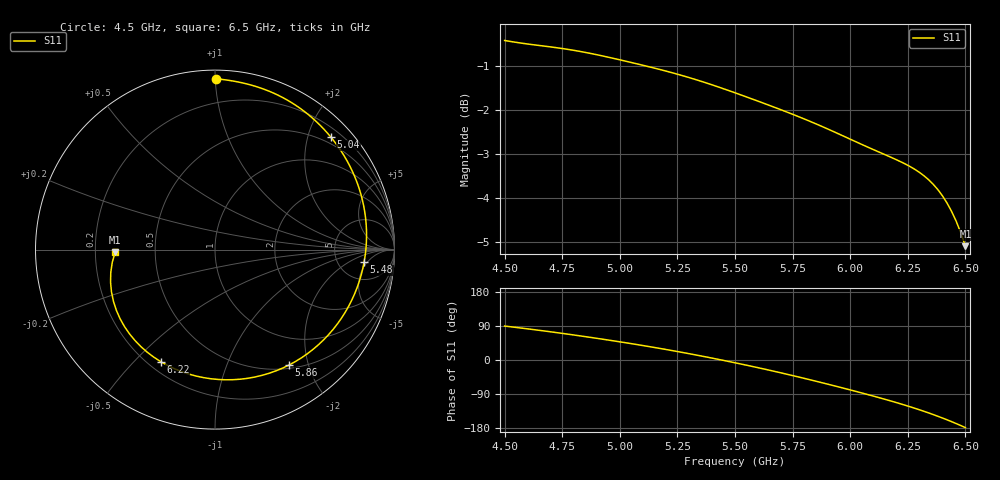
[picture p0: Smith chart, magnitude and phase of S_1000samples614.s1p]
! TOUCHSTONE file generated by CST MICROWAVE STUDIO
! Date and time: Fri Oct 28 18:54:45 2022
! Project name: L.cst
! Parameters = {Di=1.27; Epsilon_r=1.56; InnerDiameter=1.27; Length=2; Lf=10; Lg=60; OuterConductorThickness=0.2921; OuterDiameter=3.6; Wf=3; Wp=41.2; de=1.5; df=6.8; g=0.8; gx=3.24341; gy=3.1926; h=2.34; hf=1.524; px=10.5802; py=12.8649; w=9.7; wx=7.33675; wy=9.6723}
! Header version: 2018
! Port assignment regex: !\s*Touchstone port\s*([0-9]+)\s*=\s*(CST MWS port|CST DS port)\s*([0-9]+|Zmin|Zmax)\s*\(\"(.*)\"\)(\s*mode\s*([0-9]+))?.*
! Touchstone port assignment:
! Touchstone port 1 = CST MWS port 1 ("")
# GHz S DB R 50
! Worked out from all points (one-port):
!   101 points, 4.5 GHz to 6.5 GHz, reference 50 ohm
!   lowest |S11| = -5.1 dB at 6.5 GHz (marker M1), VSWR 3.51, Z = 14.2 - j0.638 ohm
!   |S11| at or under -10 dB: nowhere
!   S11 on the Smith chart (normalised r, x): 4.5 GHz: 0.05, +1.01; 5.04 GHz: 0.37, +2.42; 5.48 GHz: 9, -4; 5.86 GHz: 0.55, -1.70; 6.22 GHz: 0.25, -0.60; 6.5 GHz: 0.28, -0.01
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4.5  -0.43 89.6
4.64  -0.54 79.1
4.76  -0.62 69.4
4.88  -0.73 59.0
5  -0.87 47.9
5.04  -0.92 44.1
5.16  -1.07 32.0
5.26  -1.21 21.2
5.38  -1.40 7.4
5.48  -1.58 -4.8
5.5  -1.62 -7.3
5.56  -1.73 -15.0
5.62  -1.84 -23.0
5.68  -1.96 -31.2
5.76  -2.12 -42.5
5.86  -2.34 -57.3
5.94  -2.52 -69.5
6  -2.67 -78.9
6.06  -2.81 -88.6
6.12  -2.95 -98.5
6.18  -3.08 -108.8
6.22  -3.18 -115.9
6.26  -3.29 -123.4
6.32  -3.49 -135.4
6.36  -3.68 -143.9
6.4  -3.94 -153.0
6.46  -4.52 -167.7
6.5  -5.09 -178.4
